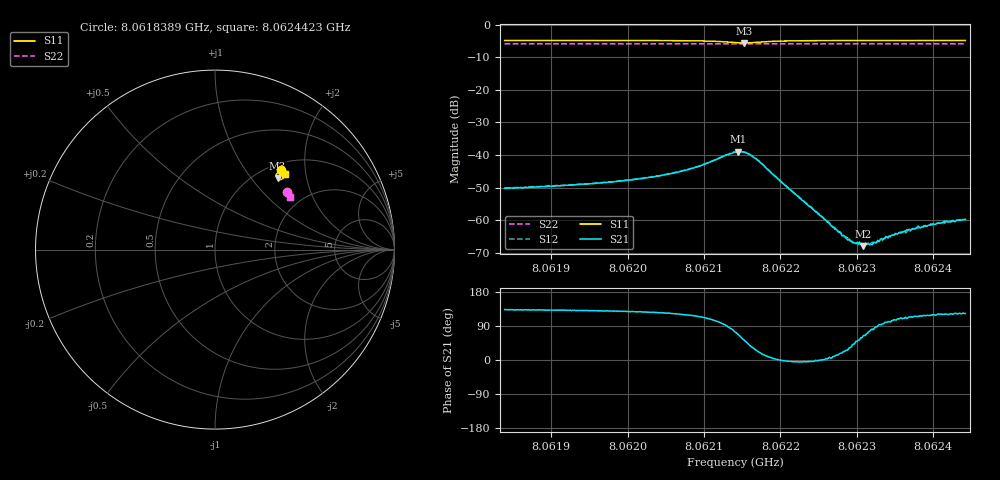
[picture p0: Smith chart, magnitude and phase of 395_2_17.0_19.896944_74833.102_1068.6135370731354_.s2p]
#  HZ  S  RI  R  50.00
! Rohde & Schwarz Vector Network Analyzer
! Rohde-Schwarz,ZNB20-2Port,1311601062101988,3.16
! Created: UTC 3/20/2024, 11:09:48 PM
! freq[Hz]  re:S11  im:S11  re:S21  im:S21  re:S12  im:S12  re:S22  im:S22
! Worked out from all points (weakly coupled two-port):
!   401 points, 8.0618389 GHz to 8.0624423 GHz, reference 50 ohm
!   highest |S21| = -38.95 dB at 8.0621451 GHz (marker M1); lowest = -68.0 dB at 8.0623081 GHz (marker M2)
!   lowest |S11| = -5.6 dB at 8.0621527 GHz (marker M3), VSWR 3.24, Z = 62 + j68.2 ohm
!   |S11| at or under -10 dB: nowhere
!   |S22| runs from -5.9 to -5.8 dB; largest |S21 - S12| = 0.00092
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8.06183893e9  0.3666 0.4442  -0.0021 0.00225  -0.00198 0.00244  0.3991 0.3213
8.06193999e9  0.3738 0.438  -0.00229 0.00268  -0.00221 0.00286  0.4029 0.3163
8.06199882e9  0.3785 0.4329  -0.00252 0.00323  -0.00235 0.00337  0.405 0.3134
8.06204106e9  0.3821 0.4281  -0.0027 0.00392  -0.00253 0.00412  0.4067 0.3109
8.06208933e9  0.3863 0.4174  -0.00283 0.00583  -0.00248 0.00604  0.4084 0.3082
8.06214062e9  0.3657 0.3904  0.00305 0.0107  0.00358 0.0105  0.409 0.3048
8.06214515e9  0.359 0.3909  0.00452 0.0103  0.00505 0.0101  0.4086 0.3048
8.06215269e9  0.3484 0.3965  0.00678 0.00877  0.00731 0.00842  0.4085 0.3048
8.06216023e9  0.3423 0.4065  0.00793 0.00616  0.00836 0.00584  0.4087 0.3049
8.06217079e9  0.3427 0.4205  0.0076 0.00314  0.00789 0.00264  0.4093 0.3051
8.06220398e9  0.3604 0.4353  0.00361 -0.000108  0.00364 -0.00035  0.4113 0.3039
8.06224169e9  0.3719 0.4346  0.00151 -9.59e-05  0.00149 -0.000163  0.4131 0.3018
8.06227789e9  0.378 0.4323  0.000625 0.000192  0.000636 0.000165  0.4145 0.3
8.06229298e9  0.3799 0.4312  0.000383 0.000263  0.000393 0.000275  0.415 0.299
8.0622975e9  0.3804 0.4309  0.000324 0.000307  0.000348 0.00026  0.4153 0.2989
8.06230806e9  0.3816 0.4303  0.000181 0.000353  0.000216 0.000368  0.4158 0.2983
8.06232315e9  0.3832 0.4292  4.75e-05 0.000455  6.05e-05 0.000462  0.4163 0.2976
8.06234276e9  0.385 0.4279  -0.000111 0.000554  -8.89e-05 0.000564  0.4169 0.2965
8.06236538e9  0.3868 0.4267  -0.000236 0.000668  -0.000182 0.000619  0.4177 0.2952
8.0623865e9  0.3884 0.4253  -0.000358 0.000693  -0.000325 0.000728  0.4185 0.2943
8.06241365e9  0.3905 0.4237  -0.000469 0.000791  -0.000452 0.000819  0.4195 0.2928
8.06244232e9  0.3924 0.4222  -0.000551 0.000859  -0.000507 0.000914  0.4205 0.2913
